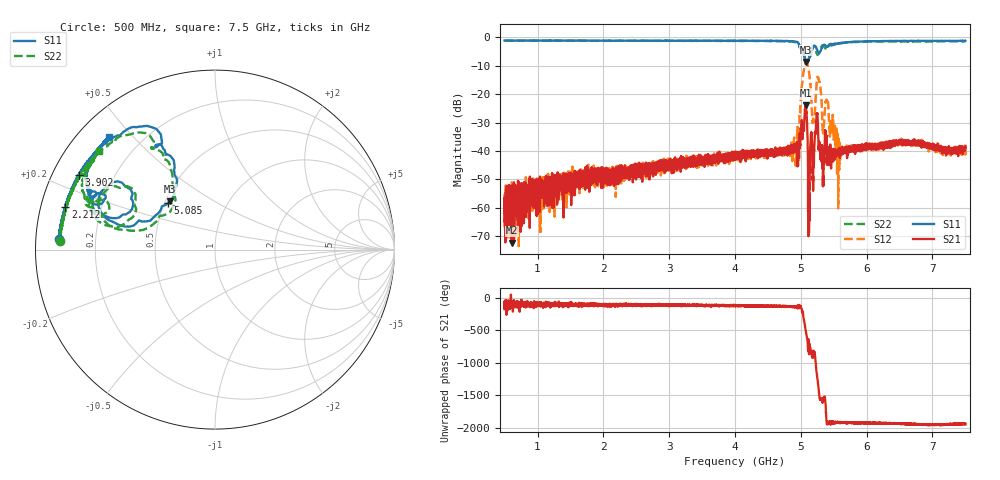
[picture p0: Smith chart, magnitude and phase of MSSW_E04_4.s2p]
!Keysight Technologies,M9374A,MY55442783,A.12.55.05
!Date: Wednesday, May 19, 2021 18:32:06
!Correction: S11(Full 2 Port(1,2))
!S21(Full 2 Port(1,2))
!S12(Full 2 Port(1,2))
!S22(Full 2 Port(1,2))
!S2P File: Measurements: S11, S21, S12, S22:
# Hz S  RI  R 50
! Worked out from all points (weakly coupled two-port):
!   7001 points, 500 MHz to 7.5 GHz, reference 50 ohm
!   highest |S21| = -23.95 dB at 5.075 GHz (marker M1); lowest = -72.2 dB at 613 MHz (marker M2)
!   lowest |S11| = -8.7 dB at 5.082 GHz (marker M3), VSWR 2.16, Z = 26.5 + j16.5 ohm
!   |S11| at or under -10 dB: nowhere
!   |S22| runs from -9.7 to -1.2 dB; largest |S21 - S12| = 0.32
!   S11 on the Smith chart (normalised r, x): 500 MHz: 0.07, +0.03; 2.212 GHz: 0.07, +0.14; 3.902 GHz: 0.08, +0.25; 5.085 GHz: 0.52, +0.31; 7.5 GHz: 0.09, +0.43
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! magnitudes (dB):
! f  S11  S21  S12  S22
! 500 MHz  -1.2  -56.9  -59.9  -1.2
! 613 MHz  -1.2  -72.2  -56.6  -1.2
! 1.667 GHz  -1.2  -52.5  -52.0  -1.3
! 2.212 GHz  -1.2  -48.6  -48.6  -1.3
! 2.834 GHz  -1.2  -43.6  -45.7  -1.3
! 3.902 GHz  -1.2  -40.7  -42.1  -1.3
! 4 GHz  -1.3  -41.0  -41.4  -1.3
! 4.94 GHz  -1.6  -38.5  -34.5  -1.7
! 5.027 GHz  -4.7  -34.7  -14.7  -4.8
! 5.075 GHz  -8.5  -23.9  -8.8  -8.9
! 5.082 GHz  -8.7  -24.8  -8.8  -9.6
! 5.085 GHz  -8.6  -26.6  -8.9  -9.7
! 5.123 GHz  -7.8  -58.1  -12.1  -7.4
! 5.167 GHz  -4.8  -35.9  -25.7  -3.9
! 5.198 GHz  -3.0  -43.2  -29.3  -3.1
! 5.236 GHz  -3.9  -28.5  -17.2  -5.4
! 5.272 GHz  -5.6  -39.2  -15.0  -5.6
! 5.336 GHz  -3.1  -52.4  -33.6  -2.8
! 5.395 GHz  -3.4  -38.2  -22.4  -3.4
! 5.601 GHz  -2.0  -39.8  -39.9  -2.2
! 6.334 GHz  -1.4  -37.2  -38.0  -1.5
! 7.5 GHz  -1.3  -38.2  -39.6  -1.4
